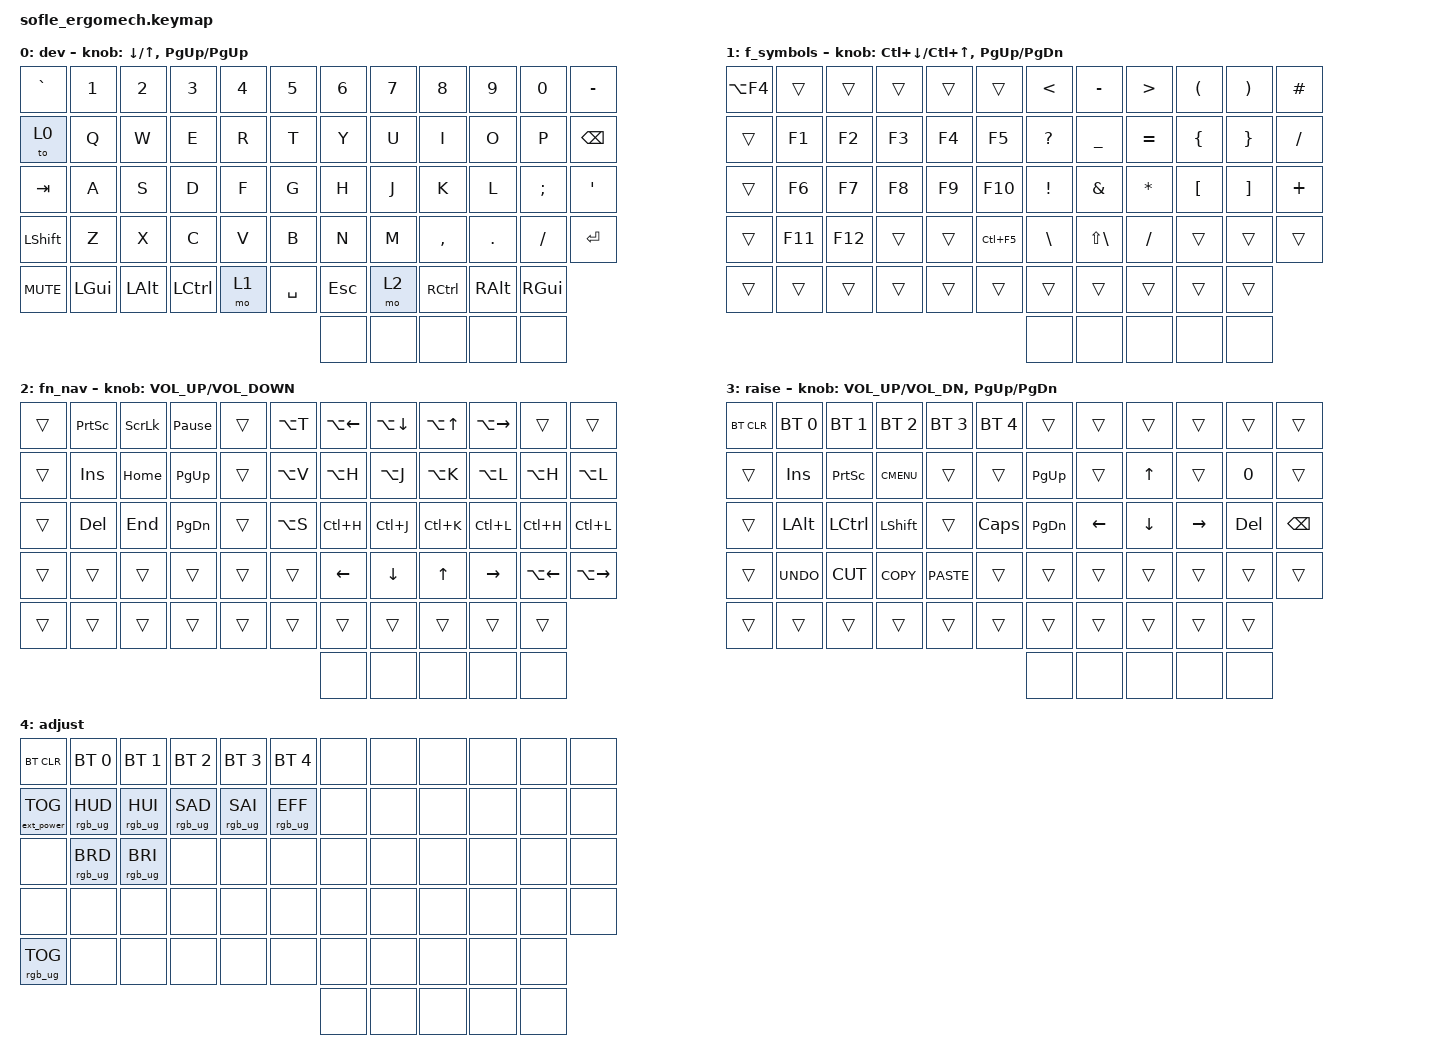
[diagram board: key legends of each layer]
/*
 * Copyright (c) 2020 The ZMK Contributors
 *
 * SPDX-License-Identifier: MIT
 */

#include <behaviors.dtsi>
#include <dt-bindings/zmk/bt.h>
#include <dt-bindings/zmk/ext_power.h>
#include <dt-bindings/zmk/keys.h>
#include <dt-bindings/zmk/rgb.h>

#define BASE 0
#define LOWER 1
#define RAISE 2
#define ADJUST 3

/ {
    // Activate ADJUST layer by pressing raise and lower

    conditional_layers {
        compatible = "zmk,conditional-layers";

        adjust_layer {
            if-layers = <1 3>;
            then-layer = <4>;
        };
    };

    combos {
        compatible = "zmk,combos";

        to-layer-0 {
            bindings = <&to 0>;
            key-positions = <1 12>;
            layers = <0 1 3 4>;
            timeout-ms = <120>;
        };

        to-layer-1 {
            bindings = <&to 1>;
            key-positions = <12 2>;
            layers = <0 1 3 4>;
            timeout-ms = <120>;
        };

        to_layer_2 {
            bindings = <&to 2>;
            key-positions = <12 3>;
            timeout-ms = <250>;
            layers = <0 1 3 4>;
        };
    };

    keymap {
        compatible = "zmk,keymap";

        default {
            label = "dev";

            // ------------------------------------------------------------------------------------------------------------
            // |   `   |  1  |  2  |  3   |  4   |  5   |                   |  6   |  7    |  8    |  9   |   0   |       |
            // |  ESC  |  Q  |  W  |  E   |  R   |  T   |                   |  Y   |  U    |  I    |  O   |   P   | BKSPC |
            // |  TAB  |  A  |  S  |  D   |  F   |  G   |                   |  H   |  J    |  K    |  L   |   ;   |   '   |
            // | SHIFT |  Z  |  X  |  C   |  V   |  B   |  MUTE  |  |       |  N   |  M    |  ,    |  .   |   /   | SHIFT |
            //               | GUI | ALT  | CTRL | LOWER|  ENTER |  | SPACE | RAISE| CTRL  | ALT   | GUI  |

            bindings = <
&kp GRAVE   &kp N1    &kp N2    &kp N3     &kp N4  &kp N5     &kp N6      &kp N7  &kp N8     &kp N9    &kp N0    &kp MINUS
&to 0       &kp Q     &kp W     &kp E      &kp R   &kp T      &kp Y       &kp U   &kp I      &kp O     &kp P     &kp BSPC
&kp TAB     &kp A     &kp S     &kp D      &kp F   &kp G      &kp H       &kp J   &kp K      &kp L     &kp SEMI  &kp SQT
&kp LSHFT   &kp Z     &kp X     &kp C      &kp V   &kp B      &kp N       &kp M   &kp COMMA  &kp DOT   &kp FSLH  &kp ENTER
&kp C_MUTE  &kp LGUI  &kp LALT  &kp LCTRL  &mo 1   &kp SPACE  &kp ESCAPE  &mo 2   &kp RCTRL  &kp RALT  &kp RGUI
                                                              &none       &none   &none      &none     &none
            >;

            sensor-bindings =
                <&inc_dec_kp DOWN_ARROW UP_ARROW>,
                <&inc_dec_kp PG_UP PG_UP>;
        };

        left {
            label = "f_symbols";

            // TODO: Some binds are waiting for shifted keycode support.
            // ------------------------------------------------------------------------------------------------------------
            // |       |  F1 |  F2 |  F3  |  F4  |  F5  |                   |  F6  |  F7   |  F8   |  F9  |  F10  |  F11  |
            // |   `   |  1  |  2  |  3   |  4   |  5   |                   |  6   |  7    |  8    |  9   |   0   |  F12  |
            // |       |  !  |  @  |  #   |  $   |  %   |                   |  ^   |  &    |  *    |  (   |   )   |   |   |
            // |       |  =  |  -  |  +   |  {   |  }   |        |  |       |  [   |  ]    |  ;    |  :   |   \   |       |
            //               |     |      |      |      |        |  |       |      |       |       |      |

            bindings = <
&kp LA(F4)  &trans   &trans   &trans  &trans  &trans      &kp LESS_THAN  &kp MINUS          &kp GREATER_THAN  &kp LEFT_PARENTHESIS  &kp RIGHT_PARENTHESIS  &kp HASH
&trans      &kp F1   &kp F2   &kp F3  &kp F4  &kp F5      &kp QUESTION   &kp UNDERSCORE     &kp EQUAL         &kp LEFT_BRACE        &kp RIGHT_BRACE        &kp SLASH
&trans      &kp F6   &kp F7   &kp F8  &kp F9  &kp F10     &kp EXCL       &kp AMPS           &kp ASTRK         &kp LEFT_BRACKET      &kp RIGHT_BRACKET      &kp PLUS
&trans      &kp F11  &kp F12  &trans  &trans  &kp LC(F5)  &kp BACKSLASH  &kp LS(BACKSLASH)  &kp SLASH         &trans                &trans                 &trans
&trans      &trans   &trans   &trans  &trans  &trans      &trans         &trans             &trans            &trans                &trans
                                                          &none          &none              &none             &none                 &none
            >;

            sensor-bindings =
                <&inc_dec_kp LC(DOWN_ARROW) LC(UP_ARROW)>,
                <&inc_dec_kp PG_UP PG_DN>;
        };

        right {
            bindings = <
&trans  &kp PRINTSCREEN  &kp SCROLLLOCK  &kp PAUSE_BREAK  &trans  &kp LA(T)  &kp LA(LEFT_ARROW)  &kp LA(DOWN)    &kp LA(UP_ARROW)  &kp LA(RIGHT)    &trans        &trans
&trans  &kp INSERT       &kp HOME        &kp PAGE_UP      &trans  &kp LA(V)  &kp LA(H)           &kp LA(J)       &kp LA(K)         &kp LA(L)        &kp LA(H)     &kp LA(L)
&trans  &kp DEL          &kp END         &kp PAGE_DOWN    &trans  &kp LA(S)  &kp LC(H)           &kp LC(J)       &kp LC(K)         &kp LC(L)        &kp LC(H)     &kp LC(L)
&trans  &trans           &trans          &trans           &trans  &trans     &kp LEFT_ARROW      &kp DOWN_ARROW  &kp UP_ARROW      &kp RIGHT_ARROW  &kp LA(LEFT)  &kp LA(RIGHT)
&trans  &trans           &trans          &trans           &trans  &trans     &trans              &trans          &trans            &trans           &trans
                                                                             &none               &none           &none             &none            &none
            >;

            sensor-bindings = <&inc_dec_kp C_VOLUME_UP C_VOLUME_DOWN>;
            label = "fn_nav";
        };

        raise_layer {
            label = "raise";

            // ------------------------------------------------------------------------------------------------------------
            // | BTCLR | BT1  | BT2  |  BT3  |  BT4  |  BT5 |                |      |      |       |      |       |       |
            // |       | INS  | PSCR | GUI   |       |      |                | PGUP |      |   ^   |      |       |       |
            // |       | ALT  | CTRL | SHIFT |       | CAPS |                | PGDN |   <- |   v   |  ->  |  DEL  | BKSPC |
            // |       | UNDO | CUT  | COPY  | PASTE |      |      |  |      |      |      |       |      |       |       |
            //                |      |       |       |      |      |  |      |      |      |       |      |

            bindings = <
&bt BT_CLR  &bt BT_SEL 0  &bt BT_SEL 1  &bt BT_SEL 2  &bt BT_SEL 3  &bt BT_SEL 4  &trans     &trans    &trans    &trans     &trans   &trans
&trans      &kp INS       &kp PSCRN     &kp K_CMENU   &trans        &trans        &kp PG_UP  &trans    &kp UP    &trans     &kp N0   &trans
&trans      &kp LALT      &kp LCTRL     &kp LSHFT     &trans        &kp CLCK      &kp PG_DN  &kp LEFT  &kp DOWN  &kp RIGHT  &kp DEL  &kp BSPC
&trans      &kp K_UNDO    &kp K_CUT     &kp K_COPY    &kp K_PASTE   &trans        &trans     &trans    &trans    &trans     &trans   &trans
&trans      &trans        &trans        &trans        &trans        &trans        &trans     &trans    &trans    &trans     &trans
                                                                                  &none      &none     &none     &none      &none
            >;

            sensor-bindings = <&inc_dec_kp C_VOL_UP C_VOL_DN &inc_dec_kp PG_UP PG_DN>;
        };

        adjust_layer {
            // ----------------------------------------------------------------------------------------------------------------------------
            // | BTCLR  |  BT1    |  BT2    |   BT3   |   BT4   |   BT5   |                  |      |      |       |      |       |       |
            // | EXTPWR | RGB_HUD | RGB_HUI | RGB_SAD | RGB_SAI | RGB_EFF |                  |      |      |       |      |       |       |
            // |        | RGB_BRD | RGB_BRI |         |         |         |                  |      |      |       |      |       |       |
            // |        |         |         |         |         |         | RGB_TOG | |      |      |      |       |      |       |       |
            //                    |         |         |         |         |         | |      |      |      |       |      |

            label = "adjust";
            bindings = <
&bt BT_CLR         &bt BT_SEL 0     &bt BT_SEL 1     &bt BT_SEL 2     &bt BT_SEL 3     &bt BT_SEL 4     &none  &none  &none  &none  &none  &none
&ext_power EP_TOG  &rgb_ug RGB_HUD  &rgb_ug RGB_HUI  &rgb_ug RGB_SAD  &rgb_ug RGB_SAI  &rgb_ug RGB_EFF  &none  &none  &none  &none  &none  &none
&none              &rgb_ug RGB_BRD  &rgb_ug RGB_BRI  &none            &none            &none            &none  &none  &none  &none  &none  &none
&none              &none            &none            &none            &none            &none            &none  &none  &none  &none  &none  &none
&rgb_ug RGB_TOG    &none            &none            &none            &none            &none            &none  &none  &none  &none  &none
                                                                                                        &none  &none  &none  &none  &none
            >;
        };
    };
};
